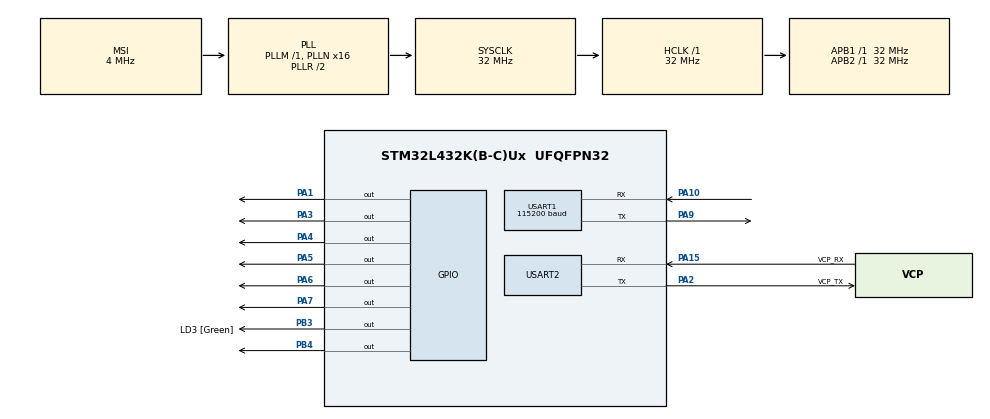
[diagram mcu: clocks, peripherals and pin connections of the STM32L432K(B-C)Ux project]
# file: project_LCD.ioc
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Mcu.Family=STM32L4
Mcu.Name=STM32L432K(B-C)Ux
Mcu.Package=UFQFPN32
NVIC.PriorityGroup=NVIC_PRIORITYGROUP_4
PA0.GPIO_Label=MCO [High speed clock in]
PA0.Mode=HSE-External-Clock-Source-for-LittleOrca
PA0.Signal=RCC_CK_IN
PA1.Signal=GPIO_Output
PA10.Mode=Asynchronous
PA10.Signal=USART1_RX
PA13\ (JTMS-SWDIO).GPIO_Label=SWDIO
PA13\ (JTMS-SWDIO).Mode=Serial_Wire
PA13\ (JTMS-SWDIO).Signal=SYS_JTMS-SWDIO
PA14\ (JTCK-SWCLK).GPIO_Label=SWCLK
PA14\ (JTCK-SWCLK).Mode=Serial_Wire
PA14\ (JTCK-SWCLK).Signal=SYS_JTCK-SWCLK
PA15\ (JTDI).GPIO_Label=VCP_RX
PA15\ (JTDI).Mode=Asynchronous
PA15\ (JTDI).Signal=USART2_RX
PA2.GPIO_Label=VCP_TX
PA2.Mode=Asynchronous
PA2.Signal=USART2_TX
PA3.Signal=GPIO_Output
PA4.Signal=GPIO_Output
PA5.Signal=GPIO_Output
PA6.Signal=GPIO_Output
PA7.Signal=GPIO_Output
PA9.Mode=Asynchronous
PA9.Signal=USART1_TX
PB3\ (JTDO-TRACESWO).GPIO_Label=LD3 [Green]
PB3\ (JTDO-TRACESWO).Signal=GPIO_Output
PB4\ (NJTRST).Signal=GPIO_Output
PC14-OSC32_IN\ (PC14).Mode=LSE-External-Oscillator
PC14-OSC32_IN\ (PC14).Signal=RCC_OSC32_IN
PC15-OSC32_OUT\ (PC15).Mode=LSE-External-Oscillator
PC15-OSC32_OUT\ (PC15).Signal=RCC_OSC32_OUT
ProjectManager.HeapSize=0x200
ProjectManager.StackSize=0x400
ProjectManager.TargetToolchain=STM32CubeIDE
RCC.AHBFreq_Value=32000000
RCC.APB1Freq_Value=32000000
RCC.APB1TimFreq_Value=32000000
RCC.APB2Freq_Value=32000000
RCC.APB2TimFreq_Value=32000000
RCC.CortexFreq_Value=32000000
RCC.HCLKFreq_Value=32000000
RCC.HSE_VALUE=8000000
RCC.HSI16_VALUE=16000000
RCC.HSI48_VALUE=48000000
RCC.HSI_VALUE=16000000
RCC.MSI_VALUE=4000000
RCC.PLLMUL=RCC_PLLMUL_4
RCC.PLLN=16
RCC.SYSCLKFreq_VALUE=32000000
RCC.SYSCLKSource=RCC_SYSCLKSOURCE_PLLCLK
RCC.VCOOutputFreq_Value=64000000
TIM1.Prescaler=31
USART1.BaudRate=115200
USART1.Mode=MODE_TX_RX
USART1.VirtualMode-Asynchronous=VM_ASYNC
USART2.VirtualMode-Asynchronous=VM_ASYNC
VP_TIM1_VS_ClockSourceINT.Mode=Internal
board=NUCLEO-L432KC

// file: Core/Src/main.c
/* USER CODE BEGIN Header */
/**
  ******************************************************************************
  * @file           : main.c
  * @brief          : Main program body
  ******************************************************************************
  * @attention
  *
  * Copyright (c) 2022 STMicroelectronics.
  * All rights reserved.
  *
  * This software is licensed under terms that can be found in the LICENSE file
  * in the root directory of this software component.
  * If no LICENSE file comes with this software, it is provided AS-IS.
  *
  ******************************************************************************
  */
/* USER CODE END Header */
#include "main.h"

/* USER CODE BEGIN Includes */
#include "LCD1602.h"
/* USER CODE END Includes */

TIM_HandleTypeDef htim1;

UART_HandleTypeDef huart1;
UART_HandleTypeDef huart2;

/* USER CODE BEGIN PV */
uint8_t msg [16] = {0};
/* USER CODE END PV */

void SystemClock_Config(void);
static void MX_GPIO_Init(void);
static void MX_USART2_UART_Init(void);
static void MX_USART1_UART_Init(void);
static void MX_TIM1_Init(void);

int main(void)
{

  /* MCU Configuration--------------------------------------------------------*/

  /* Reset of all peripherals, Initializes the Flash interface and the Systick. */
  HAL_Init();

  /* Configure the system clock */
  SystemClock_Config();

  /* Initialize all configured peripherals */
  MX_GPIO_Init();
  MX_USART2_UART_Init();
  MX_USART1_UART_Init();
  MX_TIM1_Init();
  /* USER CODE BEGIN 2 */
  HAL_TIM_Base_Start(&htim1);

  lcd_init();
  lcd_put_cur(0, 0);
  lcd_send_string("HELLO");

  //HAL_UART_Receive_IT(&huart1, msg, 10);

  /* USER CODE END 2 */

  /* Infinite loop */
  /* USER CODE BEGIN WHILE */
  while (1)
  {
	  memset(msg, 0, 12);
	  HAL_UART_Receive(&huart1, msg, 12, 2000);
	  HAL_UART_Transmit(&huart2, msg, 12, 100);
	  if (msg[0] != 0){
			lcd_put_cur(0, 0);
			lcd_send_string("                ");
			HAL_Delay(200);
			lcd_put_cur(1, 0);
			lcd_send_string("                ");
			HAL_Delay(200);
			lcd_put_cur(0, 0);
			lcd_send_string(msg);
			HAL_Delay(200);
			HAL_GPIO_TogglePin(GPIOB, GPIO_PIN_3);
	  }
	  HAL_Delay(500);
    /* USER CODE END WHILE */

  }
}

void SystemClock_Config(void)
{
  RCC_OscInitTypeDef RCC_OscInitStruct = {0};
  RCC_ClkInitTypeDef RCC_ClkInitStruct = {0};

  /** Configure the main internal regulator output voltage
  */
  if (HAL_PWREx_ControlVoltageScaling(PWR_REGULATOR_VOLTAGE_SCALE1) != HAL_OK)
  {
    Error_Handler();
  }
  /** Configure LSE Drive Capability
  */
  HAL_PWR_EnableBkUpAccess();
  __HAL_RCC_LSEDRIVE_CONFIG(RCC_LSEDRIVE_LOW);
  /** Initializes the RCC Oscillators according to the specified parameters
  * in the RCC_OscInitTypeDef structure.
  */
  RCC_OscInitStruct.OscillatorType = RCC_OSCILLATORTYPE_LSE|RCC_OSCILLATORTYPE_MSI;
  RCC_OscInitStruct.LSEState = RCC_LSE_ON;
  RCC_OscInitStruct.MSIState = RCC_MSI_ON;
  RCC_OscInitStruct.MSICalibrationValue = 0;
  RCC_OscInitStruct.MSIClockRange = RCC_MSIRANGE_6;
  RCC_OscInitStruct.PLL.PLLState = RCC_PLL_ON;
  RCC_OscInitStruct.PLL.PLLSource = RCC_PLLSOURCE_MSI;
  RCC_OscInitStruct.PLL.PLLM = 1;
  RCC_OscInitStruct.PLL.PLLN = 16;
  RCC_OscInitStruct.PLL.PLLP = RCC_PLLP_DIV7;
  RCC_OscInitStruct.PLL.PLLQ = RCC_PLLQ_DIV2;
  RCC_OscInitStruct.PLL.PLLR = RCC_PLLR_DIV2;
  if (HAL_RCC_OscConfig(&RCC_OscInitStruct) != HAL_OK)
  {
    Error_Handler();
  }
  /** Initializes the CPU, AHB and APB buses clocks
  */
  RCC_ClkInitStruct.ClockType = RCC_CLOCKTYPE_HCLK|RCC_CLOCKTYPE_SYSCLK
                              |RCC_CLOCKTYPE_PCLK1|RCC_CLOCKTYPE_PCLK2;
  RCC_ClkInitStruct.SYSCLKSource = RCC_SYSCLKSOURCE_PLLCLK;
  RCC_ClkInitStruct.AHBCLKDivider = RCC_SYSCLK_DIV1;
  RCC_ClkInitStruct.APB1CLKDivider = RCC_HCLK_DIV1;
  RCC_ClkInitStruct.APB2CLKDivider = RCC_HCLK_DIV1;

  if (HAL_RCC_ClockConfig(&RCC_ClkInitStruct, FLASH_LATENCY_1) != HAL_OK)
  {
    Error_Handler();
  }
  /** Enable MSI Auto calibration
  */
  HAL_RCCEx_EnableMSIPLLMode();
}

static void MX_TIM1_Init(void)
{

  TIM_ClockConfigTypeDef sClockSourceConfig = {0};
  TIM_MasterConfigTypeDef sMasterConfig = {0};

  htim1.Instance = TIM1;
  htim1.Init.Prescaler = 31;
  htim1.Init.CounterMode = TIM_COUNTERMODE_UP;
  htim1.Init.Period = 65535;
  htim1.Init.ClockDivision = TIM_CLOCKDIVISION_DIV1;
  htim1.Init.RepetitionCounter = 0;
  htim1.Init.AutoReloadPreload = TIM_AUTORELOAD_PRELOAD_DISABLE;
  if (HAL_TIM_Base_Init(&htim1) != HAL_OK)
  {
    Error_Handler();
  }
  sClockSourceConfig.ClockSource = TIM_CLOCKSOURCE_INTERNAL;
  if (HAL_TIM_ConfigClockSource(&htim1, &sClockSourceConfig) != HAL_OK)
  {
    Error_Handler();
  }
  sMasterConfig.MasterOutputTrigger = TIM_TRGO_RESET;
  sMasterConfig.MasterOutputTrigger2 = TIM_TRGO2_RESET;
  sMasterConfig.MasterSlaveMode = TIM_MASTERSLAVEMODE_DISABLE;
  if (HAL_TIMEx_MasterConfigSynchronization(&htim1, &sMasterConfig) != HAL_OK)
  {
    Error_Handler();
  }

}

static void MX_USART1_UART_Init(void)
{

  huart1.Instance = USART1;
  huart1.Init.BaudRate = 115200;
  huart1.Init.WordLength = UART_WORDLENGTH_8B;
  huart1.Init.StopBits = UART_STOPBITS_1;
  huart1.Init.Parity = UART_PARITY_NONE;
  huart1.Init.Mode = UART_MODE_TX_RX;
  huart1.Init.HwFlowCtl = UART_HWCONTROL_NONE;
  huart1.Init.OverSampling = UART_OVERSAMPLING_16;
  huart1.Init.OneBitSampling = UART_ONE_BIT_SAMPLE_DISABLE;
  huart1.AdvancedInit.AdvFeatureInit = UART_ADVFEATURE_NO_INIT;
  if (HAL_UART_Init(&huart1) != HAL_OK)
  {
    Error_Handler();
  }

}

static void MX_USART2_UART_Init(void)
{

  huart2.Instance = USART2;
  huart2.Init.BaudRate = 115200;
  huart2.Init.WordLength = UART_WORDLENGTH_8B;
  huart2.Init.StopBits = UART_STOPBITS_1;
  huart2.Init.Parity = UART_PARITY_NONE;
  huart2.Init.Mode = UART_MODE_TX_RX;
  huart2.Init.HwFlowCtl = UART_HWCONTROL_NONE;
  huart2.Init.OverSampling = UART_OVERSAMPLING_16;
  huart2.Init.OneBitSampling = UART_ONE_BIT_SAMPLE_DISABLE;
  huart2.AdvancedInit.AdvFeatureInit = UART_ADVFEATURE_NO_INIT;
  if (HAL_UART_Init(&huart2) != HAL_OK)
  {
    Error_Handler();
  }

}

static void MX_GPIO_Init(void)
{
  GPIO_InitTypeDef GPIO_InitStruct = {0};

  /* GPIO Ports Clock Enable */
  __HAL_RCC_GPIOC_CLK_ENABLE();
  __HAL_RCC_GPIOA_CLK_ENABLE();
  __HAL_RCC_GPIOB_CLK_ENABLE();

  /*Configure GPIO pin Output Level */
  HAL_GPIO_WritePin(GPIOA, GPIO_PIN_1|GPIO_PIN_3|GPIO_PIN_4|GPIO_PIN_5
                          |GPIO_PIN_6|GPIO_PIN_7, GPIO_PIN_RESET);

  /*Configure GPIO pin Output Level */
  HAL_GPIO_WritePin(GPIOB, LD3_Pin|GPIO_PIN_4, GPIO_PIN_RESET);

  /*Configure GPIO pins : PA1 PA3 PA4 PA5
                           PA6 PA7 */
  GPIO_InitStruct.Pin = GPIO_PIN_1|GPIO_PIN_3|GPIO_PIN_4|GPIO_PIN_5
                          |GPIO_PIN_6|GPIO_PIN_7;
  GPIO_InitStruct.Mode = GPIO_MODE_OUTPUT_PP;
  GPIO_InitStruct.Pull = GPIO_NOPULL;
  GPIO_InitStruct.Speed = GPIO_SPEED_FREQ_LOW;
  HAL_GPIO_Init(GPIOA, &GPIO_InitStruct);

  /*Configure GPIO pins : LD3_Pin PB4 */
  GPIO_InitStruct.Pin = LD3_Pin|GPIO_PIN_4;
  GPIO_InitStruct.Mode = GPIO_MODE_OUTPUT_PP;
  GPIO_InitStruct.Pull = GPIO_NOPULL;
  GPIO_InitStruct.Speed = GPIO_SPEED_FREQ_LOW;
  HAL_GPIO_Init(GPIOB, &GPIO_InitStruct);

}

/* USER CODE BEGIN 4 */
//void HAL_UART_RxCpltCallback(UART_HandleTypeDef *huart){
//
//
//	lcd_put_cur(0, 0);
//	lcd_send_string("                ");
//
//	lcd_put_cur(1, 0);
//	lcd_send_string("                ");
//
//	lcd_put_cur(0, 0);
//	lcd_send_string(msg);
//
//	HAL_GPIO_TogglePin(GPIOB, GPIO_PIN_3);
//
//	HAL_UART_Receive_IT(&huart1, msg, 10);
//
//
//}
/* USER CODE END 4 */

void Error_Handler(void)
{
  __disable_irq();
  while (1)
  {
  }
}
